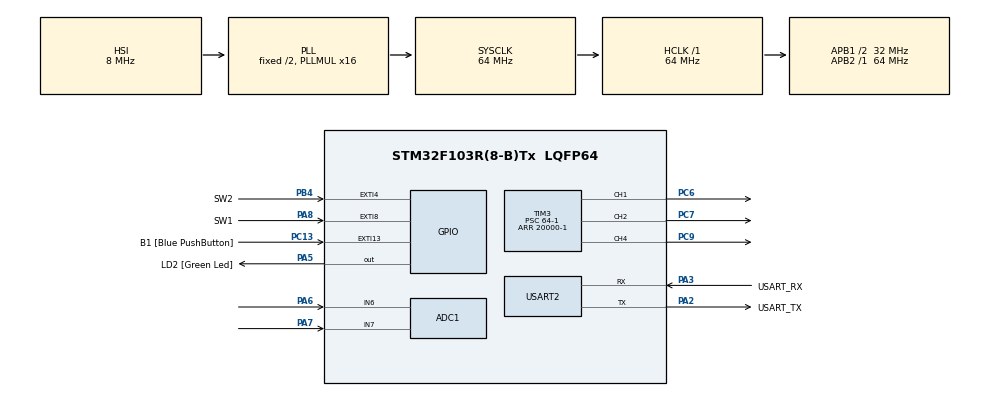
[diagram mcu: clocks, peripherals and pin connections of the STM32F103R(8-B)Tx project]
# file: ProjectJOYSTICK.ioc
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ADC1.Channel-6\#ChannelRegularConversion=ADC_CHANNEL_6
ADC1.Channel-8\#ChannelRegularConversion=ADC_CHANNEL_7
ADC1.ContinuousConvMode=DISABLE
ADC1.DiscontinuousConvMode=ENABLE
ADC1.NbrOfConversion=2
ADC1.NbrOfConversionFlag=1
ADC1.NbrOfDiscConversion=1
ADC1.Rank-6\#ChannelRegularConversion=1
ADC1.Rank-8\#ChannelRegularConversion=2
ADC1.SamplingTime-6\#ChannelRegularConversion=ADC_SAMPLETIME_239CYCLES_5
ADC1.SamplingTime-8\#ChannelRegularConversion=ADC_SAMPLETIME_239CYCLES_5
ADC1.master=1
Mcu.Family=STM32F1
Mcu.Name=STM32F103R(8-B)Tx
Mcu.Package=LQFP64
NVIC.EXTI15_10_IRQn=true\:0\:0\:false\:false\:true\:true\:true\:true
NVIC.PriorityGroup=NVIC_PRIORITYGROUP_4
PA13.GPIO_Label=TMS
PA13.Mode=Serial_Wire
PA13.Signal=SYS_JTMS-SWDIO
PA14.GPIO_Label=TCK
PA14.Mode=Serial_Wire
PA14.Signal=SYS_JTCK-SWCLK
PA2.GPIO_Label=USART_TX
PA2.GPIO_Mode=GPIO_MODE_AF_PP
PA2.GPIO_PuPd=GPIO_NOPULL
PA2.GPIO_Speed=GPIO_SPEED_FREQ_LOW
PA2.Mode=Asynchronous
PA2.Signal=USART2_TX
PA3.GPIO_Label=USART_RX
PA3.GPIO_Mode=GPIO_MODE_AF_PP
PA3.GPIO_PuPd=GPIO_NOPULL
PA3.GPIO_Speed=GPIO_SPEED_FREQ_LOW
PA3.Mode=Asynchronous
PA3.Signal=USART2_RX
PA5.GPIO_Label=LD2 [Green Led]
PA5.GPIO_ModeDefaultOutputPP=GPIO_MODE_OUTPUT_PP
PA5.GPIO_PuPd=GPIO_NOPULL
PA5.GPIO_Speed=GPIO_SPEED_FREQ_LOW
PA5.Signal=GPIO_Output
PA6.Signal=ADCx_IN6
PA7.Signal=ADCx_IN7
PA8.GPIO_Label=SW1
PA8.Signal=GPXTI8
PB3.GPIO_Label=SWO
PB3.Signal=SYS_JTDO-TRACESWO
PB4.GPIO_Label=SW2
PB4.Signal=GPXTI4
PC13-TAMPER-RTC.GPIO_Label=B1 [Blue PushButton]
PC13-TAMPER-RTC.GPIO_PuPd=GPIO_NOPULL
PC13-TAMPER-RTC.Signal=GPXTI13
PC14-OSC32_IN.Mode=LSE-External-Oscillator
PC14-OSC32_IN.Signal=RCC_OSC32_IN
PC15-OSC32_OUT.Mode=LSE-External-Oscillator
PC15-OSC32_OUT.Signal=RCC_OSC32_OUT
PC6.Signal=S_TIM3_CH1
PC7.Signal=S_TIM3_CH2
PC9.Signal=S_TIM3_CH4
PD0-OSC_IN.Mode=HSE-External-Clock-Source
PD0-OSC_IN.Signal=RCC_OSC_IN
PD1-OSC_OUT.Mode=HSE-External-Clock-Source
PD1-OSC_OUT.Signal=RCC_OSC_OUT
ProjectManager.HeapSize=0x200
ProjectManager.StackSize=0x400
ProjectManager.TargetToolchain=STM32CubeIDE
RCC.ADCPresc=RCC_ADCPCLK2_DIV8
RCC.AHBFreq_Value=64000000
RCC.APB1CLKDivider=RCC_HCLK_DIV2
RCC.APB1Freq_Value=32000000
RCC.APB1TimFreq_Value=64000000
RCC.APB2Freq_Value=64000000
RCC.APB2TimFreq_Value=64000000
RCC.HCLKFreq_Value=64000000
RCC.PLLMUL=RCC_PLL_MUL16
RCC.RTCClockSelection=RCC_RTCCLKSOURCE_LSE
RCC.SYSCLKFreq_VALUE=64000000
RCC.SYSCLKSource=RCC_SYSCLKSOURCE_PLLCLK
RCC.USBFreq_Value=64000000
SH.ADCx_IN6.0=ADC1_IN6,IN6
SH.ADCx_IN7.0=ADC1_IN7,IN7
SH.S_TIM3_CH1.0=TIM3_CH1,PWM Generation1 CH1
SH.S_TIM3_CH2.0=TIM3_CH2,PWM Generation2 CH2
SH.S_TIM3_CH4.0=TIM3_CH4,PWM Generation4 CH4
TIM3.Channel-PWM\ Generation1\ CH1=TIM_CHANNEL_1
TIM3.Channel-PWM\ Generation2\ CH2=TIM_CHANNEL_2
TIM3.Channel-PWM\ Generation4\ CH4=TIM_CHANNEL_4
TIM3.OCMode_PWM-PWM\ Generation2\ CH2=TIM_OCMODE_PWM2
TIM3.Period=20000-1
TIM3.Prescaler=64-1
TIM3.Pulse-PWM\ Generation1\ CH1=10000-1
TIM3.Pulse-PWM\ Generation2\ CH2=10000-1
TIM3.Pulse-PWM\ Generation4\ CH4=0
USART2.VirtualMode=VM_ASYNC
VP_TIM3_VS_ClockSourceINT.Mode=Internal
board=NUCLEO-F103RB

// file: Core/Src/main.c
/* USER CODE BEGIN Header */
/**
  ******************************************************************************
  * @file           : main.c
  * @brief          : Main program body
  ******************************************************************************
  * @attention
  *
  * Copyright (c) 2022 STMicroelectronics.
  * All rights reserved.
  *
  * This software is licensed under terms that can be found in the LICENSE file
  * in the root directory of this software component.
  * If no LICENSE file comes with this software, it is provided AS-IS.
  *
  ******************************************************************************
  */
/* USER CODE END Header */
#include "main.h"

/* USER CODE BEGIN Includes */
#include "stdio.h"
/* USER CODE END Includes */

/* USER CODE BEGIN PTD */
#ifdef __GNUC__
/* With GCC, small printf (option LD Linker->Libraries->Small printf
   set to 'Yes') calls __io_putchar() */
#define PUTCHAR_PROTOTYPE int __io_putchar(int ch)
#else
#define PUTCHAR_PROTOTYPE int fputc(int ch, FILE *f)
#endif /* __GNUC__ */
void SystemClock_Config(void);
/* USER CODE END PTD */

 ADC_HandleTypeDef hadc1;

TIM_HandleTypeDef htim3;

UART_HandleTypeDef huart2;

/* USER CODE BEGIN PV */
uint32_t adc_value_x;
uint32_t adc_value_y;
uint32_t Value1;
uint32_t result = 0;
uint16_t state[100] = {0};
int index = 0;
/* USER CODE END PV */

void SystemClock_Config(void);
static void MX_GPIO_Init(void);
static void MX_USART2_UART_Init(void);
static void MX_ADC1_Init(void);
static void MX_TIM3_Init(void);
/* USER CODE BEGIN PFP */
ADC_ChannelConfTypeDef sConfig = {0};
/* USER CODE END PFP */

int main(void)
{

  /* MCU Configuration--------------------------------------------------------*/

  /* Reset of all peripherals, Initializes the Flash interface and the Systick. */
  HAL_Init();

  /* Configure the system clock */
  SystemClock_Config();

  /* Initialize all configured peripherals */
  MX_GPIO_Init();
  MX_USART2_UART_Init();
  MX_ADC1_Init();
  MX_TIM3_Init();
  /* USER CODE BEGIN 2 */
  HAL_TIM_PWM_Start(&htim3, TIM_CHANNEL_1);
  HAL_TIM_PWM_Start(&htim3, TIM_CHANNEL_2);
  HAL_TIM_PWM_Start(&htim3, TIM_CHANNEL_4);
  /* USER CODE END 2 */

  /* Infinite loop */
  /* USER CODE BEGIN WHILE */
  while (1)
  {
	  HAL_ADC_Start(&hadc1);
	  HAL_ADC_PollForConversion(&hadc1, 100);
	  adc_value_x = HAL_ADC_GetValue(&hadc1); //0~1140 Variable resistance angle
	  if(adc_value_x > 760) adc_value_x = 760; //760 over = delete
	  if(adc_value_x + 10 || adc_value_x - 10) adc_value_x;
	  Value1 = adc_value_x/1140*2000+500; //500~2500 servo motor angle

	  HAL_ADC_Start(&hadc1);
	  HAL_ADC_PollForConversion(&hadc1, 100);
	  adc_value_y = HAL_ADC_GetValue(&hadc1);

	  TIM3 -> CCR4 = Value1; //500~2500
	  TIM3 -> CCR2 = adc_value_x;

	  printf("ADC Value_x : %d\n\r", adc_value_x, adc_value_y);
	  HAL_Delay(10);

    /* USER CODE END WHILE */

  }
}

void SystemClock_Config(void)
{
  RCC_OscInitTypeDef RCC_OscInitStruct = {0};
  RCC_ClkInitTypeDef RCC_ClkInitStruct = {0};
  RCC_PeriphCLKInitTypeDef PeriphClkInit = {0};

  /** Initializes the RCC Oscillators according to the specified parameters
  * in the RCC_OscInitTypeDef structure.
  */
  RCC_OscInitStruct.OscillatorType = RCC_OSCILLATORTYPE_HSI;
  RCC_OscInitStruct.HSIState = RCC_HSI_ON;
  RCC_OscInitStruct.HSICalibrationValue = RCC_HSICALIBRATION_DEFAULT;
  RCC_OscInitStruct.PLL.PLLState = RCC_PLL_ON;
  RCC_OscInitStruct.PLL.PLLSource = RCC_PLLSOURCE_HSI_DIV2;
  RCC_OscInitStruct.PLL.PLLMUL = RCC_PLL_MUL16;
  if (HAL_RCC_OscConfig(&RCC_OscInitStruct) != HAL_OK)
  {
    Error_Handler();
  }

  /** Initializes the CPU, AHB and APB buses clocks
  */
  RCC_ClkInitStruct.ClockType = RCC_CLOCKTYPE_HCLK|RCC_CLOCKTYPE_SYSCLK
                              |RCC_CLOCKTYPE_PCLK1|RCC_CLOCKTYPE_PCLK2;
  RCC_ClkInitStruct.SYSCLKSource = RCC_SYSCLKSOURCE_PLLCLK;
  RCC_ClkInitStruct.AHBCLKDivider = RCC_SYSCLK_DIV1;
  RCC_ClkInitStruct.APB1CLKDivider = RCC_HCLK_DIV2;
  RCC_ClkInitStruct.APB2CLKDivider = RCC_HCLK_DIV1;

  if (HAL_RCC_ClockConfig(&RCC_ClkInitStruct, FLASH_LATENCY_2) != HAL_OK)
  {
    Error_Handler();
  }
  PeriphClkInit.PeriphClockSelection = RCC_PERIPHCLK_ADC;
  PeriphClkInit.AdcClockSelection = RCC_ADCPCLK2_DIV8;
  if (HAL_RCCEx_PeriphCLKConfig(&PeriphClkInit) != HAL_OK)
  {
    Error_Handler();
  }
}

static void MX_ADC1_Init(void)
{

  ADC_ChannelConfTypeDef sConfig = {0};

  /** Common config
  */
  hadc1.Instance = ADC1;
  hadc1.Init.ScanConvMode = ADC_SCAN_ENABLE;
  hadc1.Init.ContinuousConvMode = DISABLE;
  hadc1.Init.DiscontinuousConvMode = ENABLE;
  hadc1.Init.NbrOfDiscConversion = 1;
  hadc1.Init.ExternalTrigConv = ADC_SOFTWARE_START;
  hadc1.Init.DataAlign = ADC_DATAALIGN_RIGHT;
  hadc1.Init.NbrOfConversion = 2;
  if (HAL_ADC_Init(&hadc1) != HAL_OK)
  {
    Error_Handler();
  }

  /** Configure Regular Channel
  */
  sConfig.Channel = ADC_CHANNEL_6;
  sConfig.Rank = ADC_REGULAR_RANK_1;
  sConfig.SamplingTime = ADC_SAMPLETIME_239CYCLES_5;
  if (HAL_ADC_ConfigChannel(&hadc1, &sConfig) != HAL_OK)
  {
    Error_Handler();
  }

  /** Configure Regular Channel
  */
  sConfig.Channel = ADC_CHANNEL_7;
  sConfig.Rank = ADC_REGULAR_RANK_2;
  if (HAL_ADC_ConfigChannel(&hadc1, &sConfig) != HAL_OK)
  {
    Error_Handler();
  }

}

static void MX_TIM3_Init(void)
{

  TIM_ClockConfigTypeDef sClockSourceConfig = {0};
  TIM_MasterConfigTypeDef sMasterConfig = {0};
  TIM_OC_InitTypeDef sConfigOC = {0};

  htim3.Instance = TIM3;
  htim3.Init.Prescaler = 64-1;
  htim3.Init.CounterMode = TIM_COUNTERMODE_UP;
  htim3.Init.Period = 20000-1;
  htim3.Init.ClockDivision = TIM_CLOCKDIVISION_DIV1;
  htim3.Init.AutoReloadPreload = TIM_AUTORELOAD_PRELOAD_DISABLE;
  if (HAL_TIM_Base_Init(&htim3) != HAL_OK)
  {
    Error_Handler();
  }
  sClockSourceConfig.ClockSource = TIM_CLOCKSOURCE_INTERNAL;
  if (HAL_TIM_ConfigClockSource(&htim3, &sClockSourceConfig) != HAL_OK)
  {
    Error_Handler();
  }
  if (HAL_TIM_PWM_Init(&htim3) != HAL_OK)
  {
    Error_Handler();
  }
  sMasterConfig.MasterOutputTrigger = TIM_TRGO_RESET;
  sMasterConfig.MasterSlaveMode = TIM_MASTERSLAVEMODE_DISABLE;
  if (HAL_TIMEx_MasterConfigSynchronization(&htim3, &sMasterConfig) != HAL_OK)
  {
    Error_Handler();
  }
  sConfigOC.OCMode = TIM_OCMODE_PWM1;
  sConfigOC.Pulse = 10000-1;
  sConfigOC.OCPolarity = TIM_OCPOLARITY_HIGH;
  sConfigOC.OCFastMode = TIM_OCFAST_DISABLE;
  if (HAL_TIM_PWM_ConfigChannel(&htim3, &sConfigOC, TIM_CHANNEL_1) != HAL_OK)
  {
    Error_Handler();
  }
  sConfigOC.OCMode = TIM_OCMODE_PWM2;
  if (HAL_TIM_PWM_ConfigChannel(&htim3, &sConfigOC, TIM_CHANNEL_2) != HAL_OK)
  {
    Error_Handler();
  }
  sConfigOC.OCMode = TIM_OCMODE_PWM1;
  sConfigOC.Pulse = 0;
  if (HAL_TIM_PWM_ConfigChannel(&htim3, &sConfigOC, TIM_CHANNEL_4) != HAL_OK)
  {
    Error_Handler();
  }
  HAL_TIM_MspPostInit(&htim3);

}

static void MX_USART2_UART_Init(void)
{

  huart2.Instance = USART2;
  huart2.Init.BaudRate = 115200;
  huart2.Init.WordLength = UART_WORDLENGTH_8B;
  huart2.Init.StopBits = UART_STOPBITS_1;
  huart2.Init.Parity = UART_PARITY_NONE;
  huart2.Init.Mode = UART_MODE_TX_RX;
  huart2.Init.HwFlowCtl = UART_HWCONTROL_NONE;
  huart2.Init.OverSampling = UART_OVERSAMPLING_16;
  if (HAL_UART_Init(&huart2) != HAL_OK)
  {
    Error_Handler();
  }

}

static void MX_GPIO_Init(void)
{
  GPIO_InitTypeDef GPIO_InitStruct = {0};

  /* GPIO Ports Clock Enable */
  __HAL_RCC_GPIOC_CLK_ENABLE();
  __HAL_RCC_GPIOD_CLK_ENABLE();
  __HAL_RCC_GPIOA_CLK_ENABLE();
  __HAL_RCC_GPIOB_CLK_ENABLE();

  /*Configure GPIO pin Output Level */
  HAL_GPIO_WritePin(LD2_GPIO_Port, LD2_Pin, GPIO_PIN_RESET);

  /*Configure GPIO pin : B1_Pin */
  GPIO_InitStruct.Pin = B1_Pin;
  GPIO_InitStruct.Mode = GPIO_MODE_IT_RISING;
  GPIO_InitStruct.Pull = GPIO_NOPULL;
  HAL_GPIO_Init(B1_GPIO_Port, &GPIO_InitStruct);

  /*Configure GPIO pin : LD2_Pin */
  GPIO_InitStruct.Pin = LD2_Pin;
  GPIO_InitStruct.Mode = GPIO_MODE_OUTPUT_PP;
  GPIO_InitStruct.Pull = GPIO_NOPULL;
  GPIO_InitStruct.Speed = GPIO_SPEED_FREQ_LOW;
  HAL_GPIO_Init(LD2_GPIO_Port, &GPIO_InitStruct);

  /*Configure GPIO pin : SW1_Pin */
  GPIO_InitStruct.Pin = SW1_Pin;
  GPIO_InitStruct.Mode = GPIO_MODE_IT_RISING;
  GPIO_InitStruct.Pull = GPIO_NOPULL;
  HAL_GPIO_Init(SW1_GPIO_Port, &GPIO_InitStruct);

  /*Configure GPIO pin : SW2_Pin */
  GPIO_InitStruct.Pin = SW2_Pin;
  GPIO_InitStruct.Mode = GPIO_MODE_IT_RISING;
  GPIO_InitStruct.Pull = GPIO_NOPULL;
  HAL_GPIO_Init(SW2_GPIO_Port, &GPIO_InitStruct);

  /* EXTI interrupt init*/
  HAL_NVIC_SetPriority(EXTI15_10_IRQn, 0, 0);
  HAL_NVIC_EnableIRQ(EXTI15_10_IRQn);

}

/* USER CODE BEGIN 4 */
PUTCHAR_PROTOTYPE
{
  /* Place your implementation of fputc here */
  /* e.g. write a character to the USART1 and Loop until the end of transmission */
  HAL_UART_Transmit(&huart2, (uint8_t *)&ch, 1, 0xFFFF);

  return ch;
}

//void HAL_GPIO_EXTI_Callback(uint16_t GPIO_PIN)
//{
//	if(GPIO_PIN == SW1_Pin)
//	{
//		state = adc_value_x;
//	}
//}
/* USER CODE END 4 */

void Error_Handler(void)
{
  __disable_irq();
  while (1)
  {
  }
}
